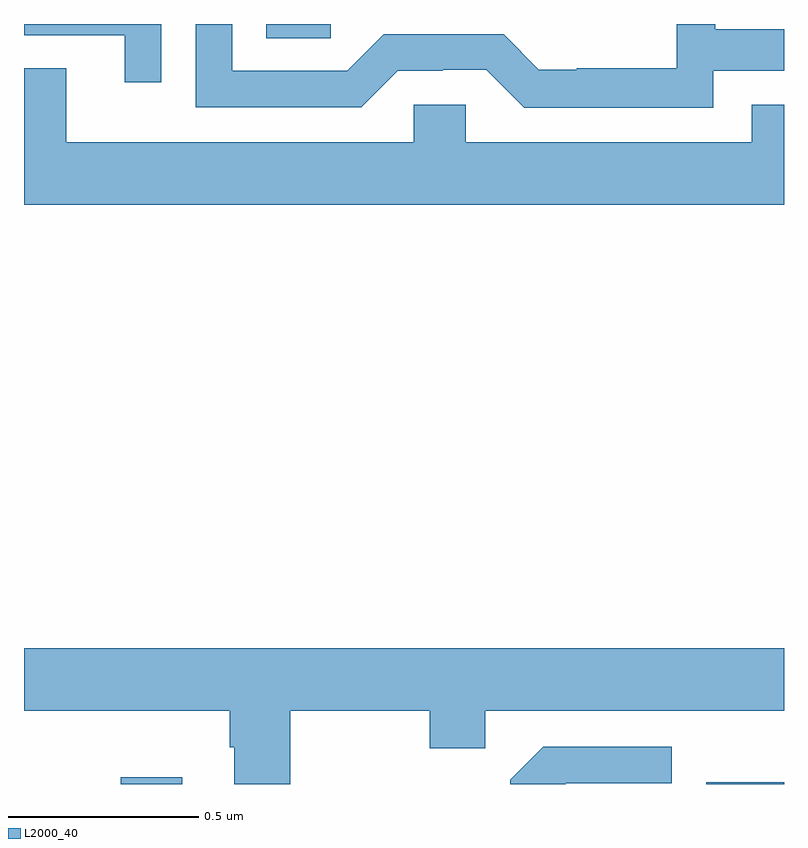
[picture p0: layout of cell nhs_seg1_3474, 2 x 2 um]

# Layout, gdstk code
import gdstk
lib = gdstk.Library(unit=1e-6, precision=1e-09)
def R(c, l, rs):  # rectangles x0, y0, x1, y1
    for r in rs: c.add(gdstk.rectangle(r[:2], r[2:], *l))
def P(c, l, *ps):  # polygons
    for p in ps: c.add(gdstk.Polygon(p, *l))
L2000_40 = (2000, 40)

nhs_seg1_3474 = lib.new_cell('nhs_seg1_3474')
R(nhs_seg1_3474, L2000_40, [(154.255,558.199,154.417,558.217), (155.796,558.199,156,558.204), (154.638,560.161,154.807,560.199)])
P(nhs_seg1_3474, L2000_40, [(155.814,560.076),(156,560.076),(156,560.185),(155.819,560.185),(155.819,560.199),(155.718,560.199),(155.718,560.083),(155.455,560.083),(155.455,560.079),(155.355,560.079),(155.262,560.172),(154.947,560.172),(154.851,560.076),(154.548,560.076),(154.548,560.199),(154.452,560.199),(154.452,559.98),(154.887,559.98),(154.983,560.076),(155.102,560.076),(155.102,560.079),(155.217,560.079),(155.317,559.979),(155.814,559.979)],
  [(154.361,560.199),(154,560.199),(154,560.169),(154.265,560.169),(154.265,560.046),(154.361,560.046)],
  [(156,559.987),(155.915,559.987),(155.915,559.888),(155.163,559.888),(155.163,559.986),(155.025,559.986),(155.025,559.888),(154.111,559.888),(154.111,560.083),(154,560.083),(154,559.724),(156,559.724)],
  [(154.701,558.392),(155.068,558.392),(155.068,558.293),(155.214,558.293),(155.214,558.392),(156,558.392),(156,558.556),(154,558.556),(154,558.392),(154.541,558.392),(154.541,558.296),(154.553,558.296),(154.553,558.199),(154.701,558.199)],
  [(155.427,558.201),(155.704,558.201),(155.704,558.297),(155.367,558.297),(155.28,558.21),(155.28,558.199),(155.425,558.199)])

lib.write_gds('nhs_seg1_3474.gds')
